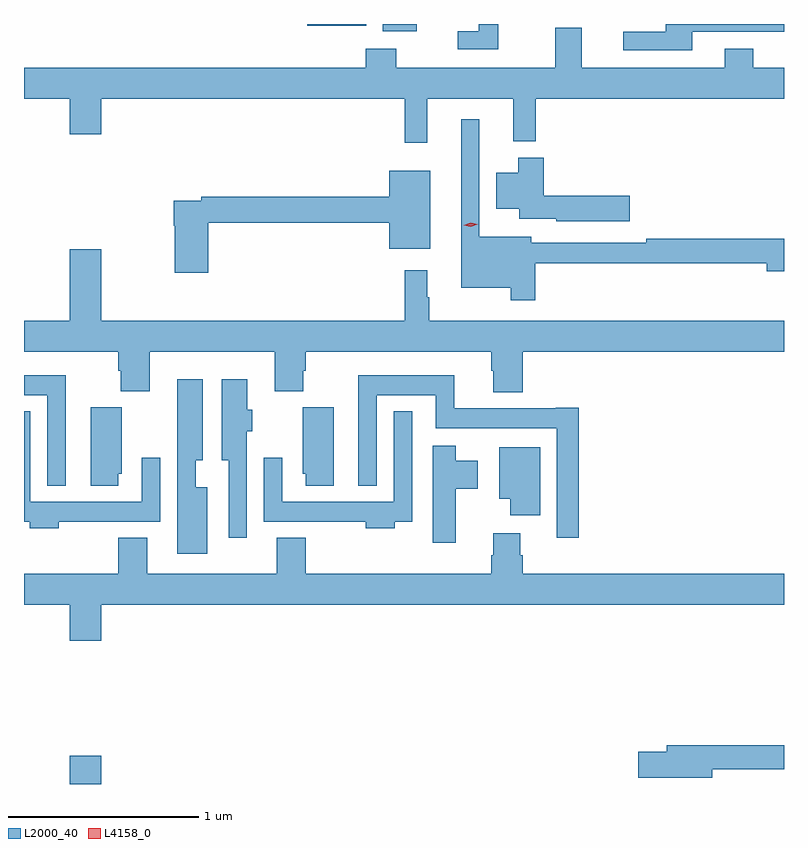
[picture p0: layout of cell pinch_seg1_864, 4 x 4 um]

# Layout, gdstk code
import gdstk
lib = gdstk.Library(unit=1e-6, precision=1e-09)
def R(c, l, rs):  # rectangles x0, y0, x1, y1
    for r in rs: c.add(gdstk.rectangle(r[:2], r[2:], *l))
def P(c, l, *ps):  # polygons
    for p in ps: c.add(gdstk.Polygon(p, *l))
L2000_40 = (2000, 40)
L4158_0 = (4158, 0)

pinch_seg1_864 = lib.new_cell('pinch_seg1_864')
R(pinch_seg1_864, L2000_40, [(524.648,522.817,524.812,522.967), (526.295,526.778,526.474,526.817), (525.897,526.807,526.206,526.817)])
P(pinch_seg1_864, L2000_40, [(527.923,526.776),(528.406,526.776),(528.406,526.817),(527.783,526.817),(527.783,526.776),(527.559,526.776),(527.559,526.68),(527.923,526.68)],
  [(526.903,526.817),(526.799,526.817),(526.799,526.779),(526.689,526.779),(526.689,526.683),(526.903,526.683)],
  [(526.365,526.687),(526.205,526.687),(526.205,526.588),(524.406,526.588),(524.406,526.424),(524.648,526.424),(524.648,526.236),(524.812,526.236),(524.812,526.424),(526.411,526.424),(526.411,526.191),(526.529,526.191),(526.529,526.424),(526.982,526.424),(526.982,526.199),(527.099,526.199),(527.099,526.424),(528.406,526.424),(528.406,526.588),(528.243,526.588),(528.243,526.687),(528.095,526.687),(528.095,526.588),(527.341,526.588),(527.341,526.796),(527.201,526.796),(527.201,526.588),(526.365,526.588)],
  [(527.096,525.558),(528.314,525.558),(528.314,525.515),(528.406,525.515),(528.406,525.686),(527.68,525.686),(527.68,525.666),(527.077,525.666),(527.077,525.697),(526.803,525.697),(526.803,526.315),(526.706,526.315),(526.706,525.428),(526.968,525.428),(526.968,525.363),(527.096,525.363)],
  [(527.593,525.914),(527.141,525.914),(527.141,526.114),(527.006,526.114),(527.006,526.033),(526.892,526.033),(526.892,525.845),(527.012,525.845),(527.012,525.791),(527.208,525.791),(527.208,525.779),(527.593,525.779)],
  [(525.377,525.772),(526.328,525.772),(526.328,525.635),(526.543,525.635),(526.543,526.045),(526.328,526.045),(526.328,525.908),(525.34,525.908),(525.34,525.888),(525.194,525.888),(525.194,525.755),(525.199,525.755),(525.199,525.507),(525.377,525.507)],
  [(527.03,525.092),(528.406,525.092),(528.406,525.256),(526.54,525.256),(526.54,525.38),(526.528,525.38),(526.528,525.52),(526.411,525.52),(526.411,525.256),(524.812,525.256),(524.812,525.631),(524.648,525.631),(524.648,525.256),(524.406,525.256),(524.406,525.092),(524.903,525.092),(524.903,524.993),(524.915,524.993),(524.915,524.884),(525.068,524.884),(525.068,525.092),(525.725,525.092),(525.725,524.884),(525.877,524.884),(525.877,524.993),(525.89,524.993),(525.89,525.092),(526.865,525.092),(526.865,524.991),(526.877,524.991),(526.877,524.879),(527.03,524.879)],
  [(524.626,524.968),(524.406,524.968),(524.406,524.864),(524.529,524.864),(524.529,524.387),(524.626,524.387)],
  [(527.327,524.797),(527.204,524.797),(527.204,524.794),(526.67,524.794),(526.67,524.968),(526.166,524.968),(526.166,524.387),(526.263,524.387),(526.263,524.864),(526.572,524.864),(526.572,524.69),(527.211,524.69),(527.211,524.112),(527.327,524.112)],
  [(525.579,524.673),(525.607,524.673),(525.607,524.787),(525.58,524.787),(525.58,524.947),(525.446,524.947),(525.446,524.522),(525.483,524.522),(525.483,524.112),(525.579,524.112)],
  [(525.37,524.38),(525.31,524.38),(525.31,524.522),(525.346,524.522),(525.346,524.947),(525.212,524.947),(525.212,524.626),(525.213,524.626),(525.213,524.276),(525.212,524.276),(525.212,524.028),(525.37,524.028)],
  [(526.036,524.799),(525.872,524.799),(525.872,524.451),(525.89,524.451),(525.89,524.388),(526.036,524.388)],
  [(524.902,524.451),(524.92,524.451),(524.92,524.799),(524.756,524.799),(524.756,524.388),(524.902,524.388)],
  [(524.588,524.196),(524.819,524.196),(524.819,524.198),(525.123,524.198),(525.123,524.533),(525.027,524.533),(525.027,524.302),(524.439,524.302),(524.439,524.779),(524.406,524.779),(524.406,524.196),(524.435,524.196),(524.435,524.162),(524.588,524.162)],
  [(526.357,524.196),(526.449,524.196),(526.449,524.779),(526.353,524.779),(526.353,524.302),(525.765,524.302),(525.765,524.533),(525.669,524.533),(525.669,524.198),(525.973,524.198),(525.973,524.196),(526.205,524.196),(526.205,524.162),(526.357,524.162)],
  [(526.678,524.371),(526.795,524.371),(526.795,524.518),(526.678,524.518),(526.678,524.596),(526.556,524.596),(526.556,524.088),(526.678,524.088)],
  [(527.122,524.59),(526.907,524.59),(526.907,524.318),(526.964,524.318),(526.964,524.232),(527.122,524.232)],
  [(524.812,523.76),(528.406,523.76),(528.406,523.924),(527.03,523.924),(527.03,524.022),(527.017,524.022),(527.017,524.137),(526.877,524.137),(526.877,524.022),(526.865,524.022),(526.865,523.924),(525.89,523.924),(525.89,524.113),(525.737,524.113),(525.737,523.924),(525.055,523.924),(525.055,524.113),(524.903,524.113),(524.903,523.924),(524.406,523.924),(524.406,523.76),(524.648,523.76),(524.648,523.572),(524.812,523.572)],
  [(528.028,522.894),(528.406,522.894),(528.406,523.022),(527.789,523.022),(527.789,522.986),(527.64,522.986),(527.64,522.851),(528.028,522.851)])
P(pinch_seg1_864, L4158_0, [(526.758,525.751),(526.721,525.759),(526.721,525.759),(526.721,525.759),(526.756,525.771),(526.793,525.764),(526.793,525.763),(526.793,525.763)])

lib.write_gds('pinch_seg1_864.gds')
